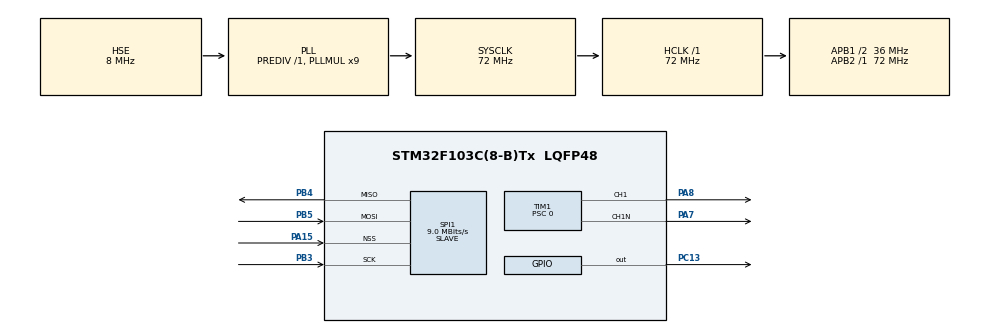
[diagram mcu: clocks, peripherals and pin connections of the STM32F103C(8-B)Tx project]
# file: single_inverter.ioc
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Mcu.Family=STM32F1
Mcu.Name=STM32F103C(8-B)Tx
Mcu.Package=LQFP48
NVIC.PriorityGroup=NVIC_PRIORITYGROUP_4
NVIC.TIM4_IRQn=true\:0\:0\:false\:false\:true\:true
PA15.Mode=NSS_Signal_Hard_Input
PA15.Signal=SPI1_NSS
PA7.Mode=PWM Generation1 CH1 CH1N
PA7.Signal=TIM1_CH1N
PA8.Signal=S_TIM1_CH1
PB3.Mode=Full_Duplex_Slave
PB3.Signal=SPI1_SCK
PB4.Mode=Full_Duplex_Slave
PB4.Signal=SPI1_MISO
PB5.Mode=Full_Duplex_Slave
PB5.Signal=SPI1_MOSI
PC13-TAMPER-RTC.Signal=GPIO_Output
PD0-OSC_IN.Mode=HSE-External-Oscillator
PD0-OSC_IN.Signal=RCC_OSC_IN
PD1-OSC_OUT.Mode=HSE-External-Oscillator
PD1-OSC_OUT.Signal=RCC_OSC_OUT
ProjectManager.HeapSize=0x200
ProjectManager.StackSize=0x400
ProjectManager.TargetToolchain=SW4STM32
RCC.ADCPresc=RCC_ADCPCLK2_DIV4
RCC.AHBFreq_Value=72000000
RCC.APB1CLKDivider=RCC_HCLK_DIV2
RCC.APB1Freq_Value=36000000
RCC.APB1TimFreq_Value=72000000
RCC.APB2Freq_Value=72000000
RCC.APB2TimFreq_Value=72000000
RCC.HCLKFreq_Value=72000000
RCC.PLLMUL=RCC_PLL_MUL9
RCC.PLLSourceVirtual=RCC_PLLSOURCE_HSE
RCC.SYSCLKFreq_VALUE=72000000
RCC.SYSCLKSource=RCC_SYSCLKSOURCE_PLLCLK
RCC.USBFreq_Value=72000000
SH.S_TIM1_CH1.0=TIM1_CH1,PWM Generation1 CH1 CH1N
SPI1.BaudRatePrescaler=SPI_BAUDRATEPRESCALER_8
SPI1.CalculateBaudRate=9.0 MBits/s
SPI1.DataSize=SPI_DATASIZE_16BIT
SPI1.Direction=SPI_DIRECTION_2LINES
SPI1.Mode=SPI_MODE_SLAVE
SPI1.VirtualNSS=VM_NSSHARD
SPI1.VirtualType=VM_SLAVE
TIM1.AutoReloadPreload=TIM_AUTORELOAD_PRELOAD_DISABLE
TIM1.Channel-PWM\ Generation1\ CH1\ CH1N=TIM_CHANNEL_1
TIM1.CounterMode=TIM_COUNTERMODE_UP
TIM1.DeadTime=1
TIM1.OCFastMode_PWM-PWM\ Generation1\ CH1\ CH1N=TIM_OCFAST_DISABLE
TIM1.OCMode_PWM-PWM\ Generation1\ CH1\ CH1N=TIM_OCMODE_PWM2
TIM1.OCNPolarity_1=TIM_OCNPOLARITY_HIGH
TIM1.OCPolarity_1=TIM_OCPOLARITY_HIGH
TIM1.Period=1024
TIM1.Prescaler=0
TIM1.Pulse-PWM\ Generation1\ CH1\ CH1N=0
TIM4.Period=80
TIM4.Prescaler=7
VP_SYS_VS_ND.Mode=No_Debug
VP_TIM4_VS_ClockSourceINT.Mode=Internal
board=custom

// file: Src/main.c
/* USER CODE BEGIN Header */
/**
  ******************************************************************************
  * @file           : main.c
  * @brief          : Main program body
  ******************************************************************************
  ** This notice applies to any and all portions of this file
  * that are not between comment pairs USER CODE BEGIN and
  * USER CODE END. Other portions of this file, whether
  * inserted by the user or by software development tools
  * are owned by their respective copyright owners.
  *
  * COPYRIGHT(c) 2018 STMicroelectronics
  *
  * Redistribution and use in source and binary forms, with or without modification,
  * are permitted provided that the following conditions are met:
  *   1. Redistributions of source code must retain the above copyright notice,
  *      this list of conditions and the following disclaimer.
  *   2. Redistributions in binary form must reproduce the above copyright notice,
  *      this list of conditions and the following disclaimer in the documentation
  *      and/or other materials provided with the distribution.
  *   3. Neither the name of STMicroelectronics nor the names of its contributors
  *      may be used to endorse or promote products derived from this software
  *      without specific prior written permission.
  *
  * THIS SOFTWARE IS PROVIDED BY THE COPYRIGHT HOLDERS AND CONTRIBUTORS "AS IS"
  * AND ANY EXPRESS OR IMPLIED WARRANTIES, INCLUDING, BUT NOT LIMITED TO, THE
  * IMPLIED WARRANTIES OF MERCHANTABILITY AND FITNESS FOR A PARTICULAR PURPOSE ARE
  * DISCLAIMED. IN NO EVENT SHALL THE COPYRIGHT HOLDER OR CONTRIBUTORS BE LIABLE
  * FOR ANY DIRECT, INDIRECT, INCIDENTAL, SPECIAL, EXEMPLARY, OR CONSEQUENTIAL
  * DAMAGES (INCLUDING, BUT NOT LIMITED TO, PROCUREMENT OF SUBSTITUTE GOODS OR
  * SERVICES; LOSS OF USE, DATA, OR PROFITS; OR BUSINESS INTERRUPTION) HOWEVER
  * CAUSED AND ON ANY THEORY OF LIABILITY, WHETHER IN CONTRACT, STRICT LIABILITY,
  * OR TORT (INCLUDING NEGLIGENCE OR OTHERWISE) ARISING IN ANY WAY OUT OF THE USE
  * OF THIS SOFTWARE, EVEN IF ADVISED OF THE POSSIBILITY OF SUCH DAMAGE.
  *
  ******************************************************************************
  */
/* USER CODE END Header */

#include "main.h"

/* USER CODE BEGIN Includes */
#include "math.h"
//#define M_PI 3.1415926525
#define inverterGround 512
#define ampMax 409
#define pwmFreq 70251
#define freqMatchingConstant 2.8

/* USER CODE END Includes */

SPI_HandleTypeDef hspi1;

TIM_HandleTypeDef htim1;
TIM_HandleTypeDef htim4;

/* USER CODE BEGIN PV */
/* Private variables ---------------------------------------------------------*/
uint16_t sinData[1000] = {0};
uint16_t amplitudeDivisions, periodDivisions;
struct spiData{
	uint8_t type : 2;
	uint16_t value : 14;
};
union receiveData{
	uint16_t raw;
	struct spiData data;
};

/* USER CODE END PV */

void SystemClock_Config(void);
static void MX_GPIO_Init(void);
static void MX_TIM1_Init(void);
static void MX_TIM4_Init(void);
static void MX_SPI1_Init(void);
/* USER CODE BEGIN PFP */
/* Private function prototypes -----------------------------------------------*/
void tim1_pwm_setvalue(uint16_t, uint8_t);
void setSinData(uint16_t, double, uint16_t*);

/* USER CODE END PFP */

int main(void)
{

  /* MCU Configuration--------------------------------------------------------*/

  /* Reset of all peripherals, Initializes the Flash interface and the Systick. */
  HAL_Init();

  /* Configure the system clock */
  SystemClock_Config();

  /* Initialize all configured peripherals */
  MX_GPIO_Init();
  MX_TIM1_Init();
  MX_TIM4_Init();
  MX_SPI1_Init();
  /* USER CODE BEGIN 2 */
  union receiveData spiReceiveData;
  uint16_t RxBuffer;
  const uint16_t amplitudeIntMax = 0x3fff;
  uint16_t freq = 0, amplitudeInt = 0;
  uint8_t newData = 0;
  double amplitude = 0;

  tim1_pwm_setvalue(inverterGround, 0);
  //tim1_pwm_setvalue(200, 0);
  setSinData(100, 1, sinData);

  /* USER CODE END 2 */

  /* Infinite loop */
  /* USER CODE BEGIN WHILE */
  HAL_TIM_Base_Start_IT(&htim4);

  while (1)
  {

    /* USER CODE END WHILE */

    /* USER CODE BEGIN 3 */
	  HAL_SPI_Receive(&hspi1, &RxBuffer, 2, 10);
	  spiReceiveData.raw = RxBuffer;

	  if(spiReceiveData.data.type == 0) {
		  if(amplitudeInt != spiReceiveData.data.value){
			  amplitudeInt = spiReceiveData.data.value;
			  amplitude = amplitudeInt;
			  amplitude /= amplitudeIntMax;
			  //amplitude = 0.7;
			  newData = 1;
		  }
	  } else if(spiReceiveData.data.type == 1){
		  if(freq != spiReceiveData.data.value){
			  freq = spiReceiveData.data.value;
			  newData = 1;
		  }
	  }

	  if(newData){
		  newData = 0;
		  //stop timer
		  HAL_TIM_Base_Stop_IT(&htim4);
		  tim1_pwm_setvalue(inverterGround, 0);
		  setSinData(freq, amplitude, sinData);
		  //restart timer
		  HAL_TIM_Base_Start_IT(&htim4);
	  }

	  /*
	  newData = 1;
	  if(freq == 500){
		  freq = 50;
		  amplitude = 0.5;
	  }else{
		  freq = 500;
		  amplitude = 1;
	  }
	  HAL_GPIO_TogglePin(GPIOC, GPIO_PIN_13);
	  HAL_Delay(500);
	  //internal change test  */

  }
  /* USER CODE END 3 */
}

void SystemClock_Config(void)
{
  RCC_OscInitTypeDef RCC_OscInitStruct = {0};
  RCC_ClkInitTypeDef RCC_ClkInitStruct = {0};

  /**Initializes the CPU, AHB and APB busses clocks
  */
  RCC_OscInitStruct.OscillatorType = RCC_OSCILLATORTYPE_HSE;
  RCC_OscInitStruct.HSEState = RCC_HSE_ON;
  RCC_OscInitStruct.HSEPredivValue = RCC_HSE_PREDIV_DIV1;
  RCC_OscInitStruct.HSIState = RCC_HSI_ON;
  RCC_OscInitStruct.PLL.PLLState = RCC_PLL_ON;
  RCC_OscInitStruct.PLL.PLLSource = RCC_PLLSOURCE_HSE;
  RCC_OscInitStruct.PLL.PLLMUL = RCC_PLL_MUL9;
  if (HAL_RCC_OscConfig(&RCC_OscInitStruct) != HAL_OK)
  {
    Error_Handler();
  }
  /**Initializes the CPU, AHB and APB busses clocks
  */
  RCC_ClkInitStruct.ClockType = RCC_CLOCKTYPE_HCLK|RCC_CLOCKTYPE_SYSCLK
                              |RCC_CLOCKTYPE_PCLK1|RCC_CLOCKTYPE_PCLK2;
  RCC_ClkInitStruct.SYSCLKSource = RCC_SYSCLKSOURCE_PLLCLK;
  RCC_ClkInitStruct.AHBCLKDivider = RCC_SYSCLK_DIV1;
  RCC_ClkInitStruct.APB1CLKDivider = RCC_HCLK_DIV2;
  RCC_ClkInitStruct.APB2CLKDivider = RCC_HCLK_DIV1;

  if (HAL_RCC_ClockConfig(&RCC_ClkInitStruct, FLASH_LATENCY_2) != HAL_OK)
  {
    Error_Handler();
  }
}

static void MX_SPI1_Init(void)
{

  /* SPI1 parameter configuration*/
  hspi1.Instance = SPI1;
  hspi1.Init.Mode = SPI_MODE_SLAVE;
  hspi1.Init.Direction = SPI_DIRECTION_2LINES;
  hspi1.Init.DataSize = SPI_DATASIZE_16BIT;
  hspi1.Init.CLKPolarity = SPI_POLARITY_LOW;
  hspi1.Init.CLKPhase = SPI_PHASE_1EDGE;
  hspi1.Init.NSS = SPI_NSS_HARD_INPUT;
  hspi1.Init.BaudRatePrescaler = SPI_BAUDRATEPRESCALER_8;
  hspi1.Init.FirstBit = SPI_FIRSTBIT_MSB;
  hspi1.Init.TIMode = SPI_TIMODE_DISABLE;
  hspi1.Init.CRCCalculation = SPI_CRCCALCULATION_DISABLE;
  hspi1.Init.CRCPolynomial = 10;
  if (HAL_SPI_Init(&hspi1) != HAL_OK)
  {
    Error_Handler();
  }

}

static void MX_TIM1_Init(void)
{

  TIM_MasterConfigTypeDef sMasterConfig = {0};
  TIM_OC_InitTypeDef sConfigOC = {0};
  TIM_BreakDeadTimeConfigTypeDef sBreakDeadTimeConfig = {0};

  htim1.Instance = TIM1;
  htim1.Init.Prescaler = 0;
  htim1.Init.CounterMode = TIM_COUNTERMODE_UP;
  htim1.Init.Period = 1024;
  htim1.Init.ClockDivision = TIM_CLOCKDIVISION_DIV1;
  htim1.Init.RepetitionCounter = 0;
  htim1.Init.AutoReloadPreload = TIM_AUTORELOAD_PRELOAD_DISABLE;
  if (HAL_TIM_PWM_Init(&htim1) != HAL_OK)
  {
    Error_Handler();
  }
  sMasterConfig.MasterOutputTrigger = TIM_TRGO_RESET;
  sMasterConfig.MasterSlaveMode = TIM_MASTERSLAVEMODE_DISABLE;
  if (HAL_TIMEx_MasterConfigSynchronization(&htim1, &sMasterConfig) != HAL_OK)
  {
    Error_Handler();
  }
  sConfigOC.OCMode = TIM_OCMODE_PWM2;
  sConfigOC.Pulse = 0;
  sConfigOC.OCPolarity = TIM_OCPOLARITY_HIGH;
  sConfigOC.OCNPolarity = TIM_OCNPOLARITY_HIGH;
  sConfigOC.OCFastMode = TIM_OCFAST_DISABLE;
  sConfigOC.OCIdleState = TIM_OCIDLESTATE_RESET;
  sConfigOC.OCNIdleState = TIM_OCNIDLESTATE_RESET;
  if (HAL_TIM_PWM_ConfigChannel(&htim1, &sConfigOC, TIM_CHANNEL_1) != HAL_OK)
  {
    Error_Handler();
  }
  sBreakDeadTimeConfig.OffStateRunMode = TIM_OSSR_DISABLE;
  sBreakDeadTimeConfig.OffStateIDLEMode = TIM_OSSI_DISABLE;
  sBreakDeadTimeConfig.LockLevel = TIM_LOCKLEVEL_OFF;
  sBreakDeadTimeConfig.DeadTime = 1;
  sBreakDeadTimeConfig.BreakState = TIM_BREAK_DISABLE;
  sBreakDeadTimeConfig.BreakPolarity = TIM_BREAKPOLARITY_HIGH;
  sBreakDeadTimeConfig.AutomaticOutput = TIM_AUTOMATICOUTPUT_DISABLE;
  if (HAL_TIMEx_ConfigBreakDeadTime(&htim1, &sBreakDeadTimeConfig) != HAL_OK)
  {
    Error_Handler();
  }
  HAL_TIM_MspPostInit(&htim1);

}

static void MX_TIM4_Init(void)
{

  TIM_ClockConfigTypeDef sClockSourceConfig = {0};
  TIM_MasterConfigTypeDef sMasterConfig = {0};

  htim4.Instance = TIM4;
  htim4.Init.Prescaler = 7;
  htim4.Init.CounterMode = TIM_COUNTERMODE_UP;
  htim4.Init.Period = 80;
  htim4.Init.ClockDivision = TIM_CLOCKDIVISION_DIV1;
  htim4.Init.AutoReloadPreload = TIM_AUTORELOAD_PRELOAD_DISABLE;
  if (HAL_TIM_Base_Init(&htim4) != HAL_OK)
  {
    Error_Handler();
  }
  sClockSourceConfig.ClockSource = TIM_CLOCKSOURCE_INTERNAL;
  if (HAL_TIM_ConfigClockSource(&htim4, &sClockSourceConfig) != HAL_OK)
  {
    Error_Handler();
  }
  sMasterConfig.MasterOutputTrigger = TIM_TRGO_RESET;
  sMasterConfig.MasterSlaveMode = TIM_MASTERSLAVEMODE_DISABLE;
  if (HAL_TIMEx_MasterConfigSynchronization(&htim4, &sMasterConfig) != HAL_OK)
  {
    Error_Handler();
  }

}

static void MX_GPIO_Init(void)
{
  GPIO_InitTypeDef GPIO_InitStruct = {0};

  /* GPIO Ports Clock Enable */
  __HAL_RCC_GPIOC_CLK_ENABLE();
  __HAL_RCC_GPIOD_CLK_ENABLE();
  __HAL_RCC_GPIOA_CLK_ENABLE();
  __HAL_RCC_GPIOB_CLK_ENABLE();

  /*Configure GPIO pin Output Level */
  HAL_GPIO_WritePin(GPIOC, GPIO_PIN_13, GPIO_PIN_RESET);

  /*Configure GPIO pin : PC13 */
  GPIO_InitStruct.Pin = GPIO_PIN_13;
  GPIO_InitStruct.Mode = GPIO_MODE_OUTPUT_PP;
  GPIO_InitStruct.Pull = GPIO_NOPULL;
  GPIO_InitStruct.Speed = GPIO_SPEED_FREQ_LOW;
  HAL_GPIO_Init(GPIOC, &GPIO_InitStruct);

}

/* USER CODE BEGIN 4 */
void HAL_TIM_PeriodElapsedCallback(TIM_HandleTypeDef *htim)
{
	static uint16_t phase = 0;
	if (htim->Instance == htim4.Instance) {
		uint8_t quadrant = phase / amplitudeDivisions;
		uint16_t phaseInQuadrant = phase % amplitudeDivisions;
		uint16_t ampCalclated = inverterGround;

		phase = ((phase + 1) < periodDivisions) ? (phase + 1) : (0);
		//ampCalclated = quadrant;
		if(quadrant == 0){
			ampCalclated += sinData[phaseInQuadrant];
		}else if(quadrant == 1){
			ampCalclated += sinData[amplitudeDivisions - phaseInQuadrant];
		}else if(quadrant == 2){
			ampCalclated -= sinData[phaseInQuadrant];
		}else if(quadrant == 3){
			ampCalclated -= sinData[amplitudeDivisions - phaseInQuadrant];
		}else{
			phase = 0;
		}

		tim1_pwm_setvalue(ampCalclated ,0);
	}

	return;
}

void tim1_pwm_setvalue(uint16_t value, uint8_t pwmMode)
{
   TIM_OC_InitTypeDef sConfigOC;
   sConfigOC.OCMode = TIM_OCMODE_PWM1;
   sConfigOC.Pulse = value;

   if(pwmMode == 0){
	   sConfigOC.OCPolarity = TIM_OCPOLARITY_HIGH;
	   sConfigOC.OCNPolarity = TIM_OCNPOLARITY_HIGH;
   }else{
	   sConfigOC.OCPolarity = TIM_OCPOLARITY_LOW;
	   sConfigOC.OCNPolarity = TIM_OCNPOLARITY_LOW;
   }

   sConfigOC.OCFastMode = TIM_OCFAST_DISABLE;
   sConfigOC.OCIdleState = TIM_OCIDLESTATE_RESET;
   sConfigOC.OCNIdleState = TIM_OCNIDLESTATE_RESET;

   HAL_TIM_PWM_ConfigChannel(&htim1, &sConfigOC, TIM_CHANNEL_1);
   HAL_TIM_PWM_Start(&htim1, TIM_CHANNEL_1);
   HAL_TIMEx_PWMN_Start(&htim1, TIM_CHANNEL_1);

   return;
}

void setSinData(uint16_t freq, double amp, uint16_t* array){
	uint16_t i;

	if(freq < 50){
		freq = 50;
	}
	/*if(freq > 500){
		freq = 500;
	}*/

	if(1.0 < amp){
		amp = 1.0;
	}

	if(!amp){
		for(i = 0; i < amplitudeDivisions; i++){
			array[i] = 0;
		}
		return;
	}

	amp *= ampMax;

	amplitudeDivisions = (uint16_t)(pwmFreq / (freq * freqMatchingConstant)) - 1; // (PWM freq) / (target freq)
	periodDivisions = amplitudeDivisions * 4;

	for(i = 0; i < amplitudeDivisions; i++){
		array[i] = (uint16_t)((amp) * sin((M_PI * i) / (amplitudeDivisions * 2))); //amplitudeDivisions = 1 quadrant
	}

	return;
}
/* USER CODE END 4 */

void Error_Handler(void)
{
  while(1)
  {
  }
}

/************************ (C) COPYRIGHT STMicroelectronics *****END OF FILE****/
